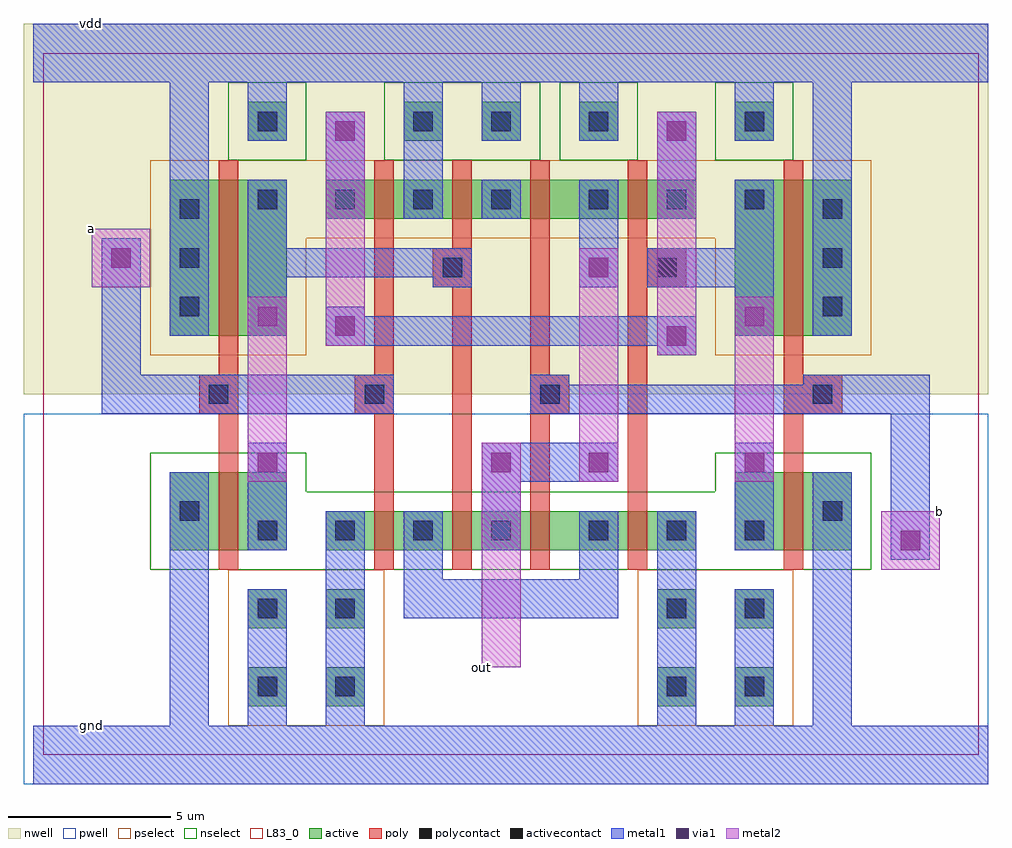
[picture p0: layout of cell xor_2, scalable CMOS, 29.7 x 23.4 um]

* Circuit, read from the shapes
.subckt xor_2 a b gnd out vdd
M1 n1 a gnd gnd nfet w=2.4u l=0.6u
M2 n2 a gnd gnd nfet w=1.2u l=0.6u
M3 out n1 n2 gnd nfet w=1.2u l=0.6u
M4 n2 b out gnd nfet w=1.2u l=0.6u
M5 gnd n3 n2 gnd nfet w=1.2u l=0.6u
M6 gnd b n3 gnd nfet w=2.4u l=0.6u
M7 n1 a vdd vdd pfet w=4.8u l=0.6u
M8 vdd a n4 vdd pfet w=1.2u l=0.6u
M9 n5 n1 vdd vdd pfet w=1.2u l=0.6u
M10 out b n5 vdd pfet w=1.2u l=0.6u
M11 n4 n3 out vdd pfet w=1.2u l=0.6u
M12 vdd b n3 vdd pfet w=4.8u l=0.6u
.ends

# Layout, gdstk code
import gdstk
lib = gdstk.Library(unit=1e-6, precision=1e-09)
def R(c, l, rs):  # rectangles x0, y0, x1, y1
    for r in rs: c.add(gdstk.rectangle(r[:2], r[2:], *l))
def A(c, l, x, y, w, h, nx, ny, dx, dy):  # array of equal rectangles
    R(c, l, [(x+i*dx, y+j*dy, x+i*dx+w, y+j*dy+h) for i in range(nx) for j in range(ny)])
pwell = (41, 0)
nwell = (42, 0)
active = (43, 0)
pselect = (44, 0)
nselect = (45, 0)
poly = (46, 0)
polycontact = (47, 0)
activecontact = (48, 0)
metal1 = (49, 0)
via1 = (50, 0)
metal2 = (51, 0)
L83_0 = (83, 0)

xor_2 = lib.new_cell('xor_2')
R(xor_2, pwell, [(0,-0.9,29.7,10.5)])
R(xor_2, nwell, [(0,11.1,29.7,22.5)])
R(xor_2, active, [(6.9,1.5,8.1,2.7), (9.3,1.5,10.5,2.7), (19.5,1.5,20.7,2.7), (21.9,1.5,23.1,2.7), (6.9,3.9,8.1,5.1), (9.3,3.9,10.5,5.1), (19.5,3.9,20.7,5.1), (21.9,3.9,23.1,5.1), (4.5,6.3,8.1,8.7), (9.3,6.3,20.7,7.5), (21.9,6.3,25.5,8.7), (4.5,12.9,8.1,17.7), (21.9,12.9,25.5,17.7), (9.3,16.5,20.7,17.7), (6.9,18.9,8.1,20.1), (11.7,18.9,12.9,20.1), (14.1,18.9,15.3,20.1), (17.1,18.9,18.3,20.1), (21.9,18.9,23.1,20.1)])
R(xor_2, pselect, [(6.3,0.9,11.1,5.7), (18.9,0.9,23.7,5.7), (3.9,12.3,8.7,15.9), (21.3,12.3,26.1,15.9), (3.9,15.9,26.1,18.3)])
R(xor_2, nselect, [(3.9,5.7,26.1,8.1), (3.9,8.1,8.7,9.3), (21.3,8.1,26.1,9.3), (6.3,18.3,8.7,20.7), (11.1,18.3,15.9,20.7), (16.5,18.3,18.9,20.7), (21.3,18.3,23.7,20.7)])
A(xor_2, poly, 6, 5.7, 0.6, 4.8, 3, 1, 4.8, 0)
A(xor_2, poly, 6, 11.7, 0.6, 6.6, 3, 1, 4.8, 0)
R(xor_2, poly, [(13.2,5.7,13.8,14.4), (18.6,5.7,19.2,14.4), (23.4,5.7,24,10.5), (5.4,10.5,6.6,11.7), (10.2,10.5,11.4,11.7), (15.6,10.5,16.8,11.7), (23.4,10.5,25.2,11.7), (23.4,11.7,24,18.3), (12.6,14.4,13.8,15.6), (18.6,14.4,20.4,15.6), (13.2,15.6,13.8,18.3), (18.6,15.6,19.2,18.3)])
R(xor_2, polycontact, [(5.7,10.8,6.3,11.4), (10.5,10.8,11.1,11.4), (15.9,10.8,16.5,11.4), (24.3,10.8,24.9,11.4), (12.9,14.7,13.5,15.3), (19.5,14.7,20.1,15.3)])
A(xor_2, activecontact, 7.2, 6.6, 0.6, 0.6, 4, 2, 2.4, 10.2)
A(xor_2, activecontact, 17.4, 6.6, 0.6, 0.6, 3, 2, 2.4, 10.2)
A(xor_2, activecontact, 4.8, 13.5, 0.6, 0.6, 1, 3, 0, 1.5)
A(xor_2, activecontact, 24.6, 13.5, 0.6, 0.6, 1, 3, 0, 1.5)
R(xor_2, activecontact, [(7.2,1.8,7.8,2.4), (9.6,1.8,10.2,2.4), (19.8,1.8,20.4,2.4), (22.2,1.8,22.8,2.4), (7.2,4.2,7.8,4.8), (9.6,4.2,10.2,4.8), (19.8,4.2,20.4,4.8), (22.2,4.2,22.8,4.8), (4.8,7.2,5.4,7.8), (24.6,7.2,25.2,7.8), (7.2,19.2,7.8,19.8), (12,19.2,12.6,19.8), (14.4,19.2,15,19.8), (17.4,19.2,18,19.8), (22.2,19.2,22.8,19.8)])
R(xor_2, metal1, [(0.3,-0.9,29.7,0.9), (4.5,0.9,5.7,8.7), (6.9,0.9,8.1,5.1), (9.3,0.9,10.5,7.5), (19.5,0.9,20.7,7.5), (21.9,0.9,23.1,5.1), (24.3,0.9,25.5,8.7), (11.7,4.2,18.3,5.4), (11.7,5.4,12.9,7.5), (17.1,5.4,18.3,7.5), (26.7,6,27.9,10.5), (6.9,6.3,8.1,9.6), (14.1,6.3,15.3,8.4), (21.9,6.3,23.1,9.6), (14.1,8.4,18.3,9.6), (2.4,10.5,11.4,11.7), (15.6,10.5,27.9,11.4), (15.6,11.4,16.8,11.7), (24,11.4,27.9,11.7), (2.4,11.7,3.6,15.9), (19.5,12.3,20.7,12.6), (9.3,12.6,20.7,13.5), (4.5,12.9,5.7,20.7), (6.9,12.9,8.1,14.7), (21.9,12.9,23.1,14.4), (24.3,12.9,25.5,20.7), (9.3,13.5,10.5,13.8), (12.6,14.4,13.8,14.7), (17.1,14.4,18.3,17.7), (19.2,14.4,23.1,15.6), (6.9,14.7,13.8,15.6), (6.9,15.6,8.1,17.7), (21.9,15.6,23.1,17.7), (9.3,16.5,10.5,19.8), (11.7,16.5,12.9,20.7), (14.1,16.5,15.3,17.7), (19.5,16.5,20.7,19.8), (6.9,18.9,8.1,20.7), (14.1,18.9,15.3,20.7), (17.1,18.9,18.3,20.7), (21.9,18.9,23.1,20.7), (0.3,20.7,29.7,22.5)])
R(xor_2, via1, [(27,6.3,27.6,6.9), (7.2,8.7,7.8,9.3), (14.4,8.7,15,9.3), (17.4,8.7,18,9.3), (22.2,8.7,22.8,9.3), (19.8,12.6,20.4,13.2), (9.6,12.9,10.2,13.5), (7.2,13.2,7.8,13.8), (22.2,13.2,22.8,13.8), (17.4,14.7,18,15.3), (2.7,15,3.3,15.6), (9.6,18.9,10.2,19.5), (19.8,18.9,20.4,19.5)])
R(xor_2, metal2, [(14.1,2.7,15.3,9.6), (26.4,5.7,28.2,7.5), (6.9,8.4,8.1,14.1), (17.1,8.4,18.3,15.6), (21.9,8.4,23.1,14.1), (19.5,12.3,20.7,19.8), (9.3,12.6,10.5,19.8), (2.1,14.4,3.9,16.2)])
R(xor_2, L83_0, [(0.6,0,29.4,21.6)])
xor_2.add(gdstk.Label('gnd', (2.1,0.9), layer=49, texttype=0))
xor_2.add(gdstk.Label('vdd', (2.1,22.5), layer=49, texttype=0))
xor_2.add(gdstk.Label('a', (2.1,16.2), layer=51, texttype=0))
xor_2.add(gdstk.Label('b', (28.2,7.5), layer=51, texttype=0))
xor_2.add(gdstk.Label('out', (14.1,2.7), layer=51, texttype=0))

lib.write_gds('xor_2.gds')
